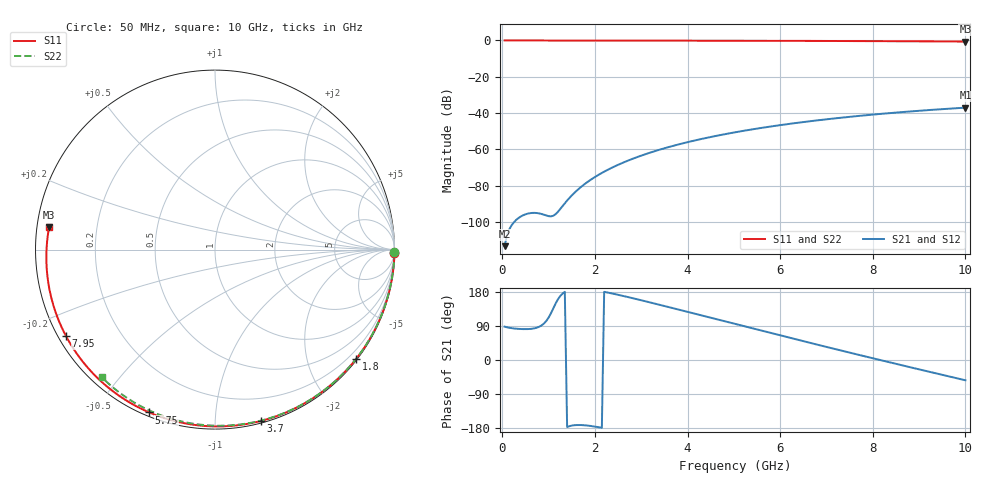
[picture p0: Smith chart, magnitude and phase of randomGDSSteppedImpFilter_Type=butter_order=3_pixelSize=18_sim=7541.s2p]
! freq	dB(S11)	phase(S11)	dB(S12)	phase(S12)
!  dB(S21)	phase(S21)	dB(S22)	phase(S22)
!S-par simulation data
#  GHz  S  DB  R 50
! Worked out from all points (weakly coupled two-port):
!   200 points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, 50 MHz to 10 GHz, reference 50 ohm
!   highest |S21| = -37.03 dB at 10 GHz (marker M1); lowest = -113.3 dB at 50 MHz (marker M2)
!   lowest |S11| = -0.6 dB at 10 GHz (marker M3), VSWR 28.76, Z = 1.75 + j3.32 ohm
!   |S11| at or under -10 dB: nowhere
!   |S22| runs from -0.4 to 0.0 dB; largest |S21 - S12| = 0
!   S11 on the Smith chart (normalised r, x): 50 MHz: open; 1.8 GHz: 0.03, -2.93; 3.7 GHz: 0.02, -1.30; 5.75 GHz: 0.02, -0.67; 7.95 GHz: 0.02, -0.27; 10 GHz: 0.03, +0.07
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0.05  -0.00 -1.1  -113.33 88.1  -113.33 88.1  -0.00 -0.8
0.45  -0.01 -9.6  -96.31 81.5  -96.31 81.5  -0.01 -6.8
0.85  -0.02 -18.0  -95.62 91.4  -95.62 91.4  -0.02 -12.9
1.25  -0.03 -26.4  -92.92 168.7  -92.92 168.7  -0.02 -18.8
1.7  -0.05 -35.7  -80.69 -171.7  -80.69 -171.7  -0.03 -25.5
1.75  -0.05 -36.7  -79.67 -172.0  -79.67 -172.0  -0.03 -26.3
1.8  -0.05 -37.7  -78.71 -172.5  -78.71 -172.5  -0.03 -27.0
2.1  -0.06 -43.8  -73.70 -177.8  -73.70 -177.8  -0.04 -31.4
2.5  -0.07 -51.8  -68.51 172.1  -68.51 172.1  -0.05 -37.2
2.9  -0.08 -59.7  -64.37 160.7  -64.37 160.7  -0.06 -42.9
3.4  -0.09 -69.3  -60.15 145.6  -60.15 145.6  -0.07 -50.0
3.7  -0.10 -75.0  -57.98 136.3  -57.98 136.3  -0.07 -54.2
4.35  -0.12 -87.1  -53.99 116.1  -53.99 116.1  -0.09 -63.0
5.05  -0.15 -99.7  -50.49 94.3  -50.49 94.3  -0.11 -72.3
5.75  -0.19 -112.0  -47.57 72.6  -47.57 72.6  -0.14 -81.4
6.7  -0.25 -128.4  -44.33 43.5  -44.33 43.5  -0.18 -93.2
7.35  -0.30 -139.6  -42.47 23.9  -42.47 23.9  -0.22 -101.1
7.95  -0.36 -149.9  -40.96 6.1  -40.96 6.1  -0.26 -108.2
8.35  -0.40 -157.0  -40.06 -5.7  -40.06 -5.7  -0.29 -112.9
9.2  -0.50 -172.3  -38.36 -30.5  -38.36 -30.5  -0.36 -122.6
9.6  -0.55 -179.8  -37.67 -42.0  -37.67 -42.0  -0.40 -127.2
10  -0.60 172.4  -37.03 -53.5  -37.03 -53.5  -0.44 -131.7
